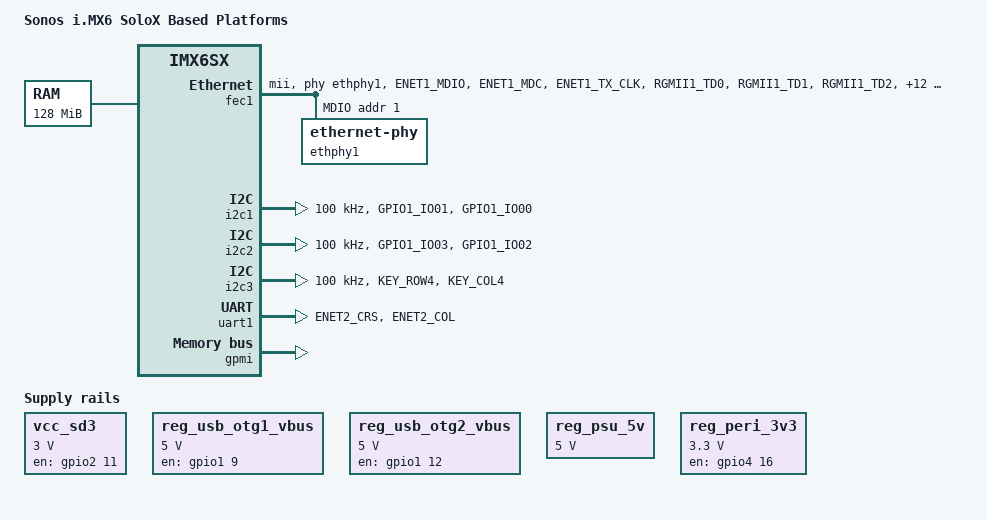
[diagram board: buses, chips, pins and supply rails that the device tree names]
/*
 * Copyright (c) 2019-2021, Sonos, Inc.
 *
 * SPDX-License-Identifier:     GPL-2.0
 *
 */

/dts-v1/;

#include <dt-bindings/gpio/gpio.h>
#include <dt-bindings/input/input.h>
#include "sonos_imx6sx.dtsi"
#include "sonos_platform.dtsi"

/ {
	model = "Sonos i.MX6 SoloX Based Platforms";
	compatible = "fsl,imx6sx-sdb", "fsl,imx6sx";

	aliases {
		serial0 = &uart1;
		ethernet0 = &fec1;
	};

	chosen {
	};

	memory {
		reg = <0x80000000 0x8000000>;
	};

	reserved-memory {
		ranges;
		/* global autoconfigured region for contiguous allocations */
		ramoops@0x81000000 {
			compatible = "ramoops";
			reg = <0x81000000 0x00100000>;
			record-size = <0x8000>;
			console-size = <0x10000>;
			ftrace-size = <0x2000>;
			pmsg-size = <0x4000>;
		};
	};
	regulators {
		compatible = "simple-bus";
		#address-cells = <1>;
		#size-cells = <0>;

		vcc_sd3: regulator@0 {
			compatible = "regulator-fixed";
			reg = <0>;
			pinctrl-names = "default";
			pinctrl-0 = <&pinctrl_vcc_sd3>;
			regulator-name = "VCC_SD3";
			regulator-min-microvolt = <3000000>;
			regulator-max-microvolt = <3000000>;
			gpio = <&gpio2 11 GPIO_ACTIVE_HIGH>;
			enable-active-high;
		};

		reg_usb_otg1_vbus: regulator@1 {
			compatible = "regulator-fixed";
			reg = <1>;
			pinctrl-names = "default";
			pinctrl-0 = <&pinctrl_usb_otg1>;
			regulator-name = "usb_otg1_vbus";
			regulator-min-microvolt = <5000000>;
			regulator-max-microvolt = <5000000>;
			gpio = <&gpio1 9 GPIO_ACTIVE_HIGH>;
			enable-active-high;
		};

		reg_usb_otg2_vbus: regulator@2 {
			compatible = "regulator-fixed";
			reg = <2>;
			pinctrl-names = "default";
			pinctrl-0 = <&pinctrl_usb_otg2>;
			regulator-name = "usb_otg2_vbus";
			regulator-min-microvolt = <5000000>;
			regulator-max-microvolt = <5000000>;
			gpio = <&gpio1 12 GPIO_ACTIVE_HIGH>;
			enable-active-high;
		};

		reg_psu_5v: regulator@3 {
			compatible = "regulator-fixed";
			reg = <3>;
			regulator-name = "PSU-5V0";
			regulator-min-microvolt = <5000000>;
			regulator-max-microvolt = <5000000>;
		};

		reg_lcd_3v3: regulator@4 {
			compatible = "regulator-fixed";
			reg = <4>;
			regulator-name = "lcd-3v3";
			gpio = <&gpio3 27 0>;
			enable-active-high;
			status = "disabled";
		};

		reg_peri_3v3: regulator@5 {
			compatible = "regulator-fixed";
			reg = <5>;
			pinctrl-names = "default";
			pinctrl-0 = <&pinctrl_peri_3v3>;
			regulator-name = "peri_3v3";
			regulator-min-microvolt = <3300000>;
			regulator-max-microvolt = <3300000>;
			gpio = <&gpio4 16 GPIO_ACTIVE_HIGH>;
			enable-active-high;
			regulator-always-on;
		};
	};

	sonos_rollback:sonos-rollback@ff800000 {
		compatible = "sonos,sonos-rollback";
		reg = <0x20d8000 0x100>;
		offset = <0x3c>;
		shift = <0>;
	};
};

&fec1 {
	pinctrl-names = "default";
	pinctrl-0 = <&pinctrl_enet1>;
	phy-mode = "mii";
	phy-handle = <&ethphy1>;
	status = "okay";

	mdio {
		#address-cells = <1>;
		#size-cells = <0>;

		ethphy1: ethernet-phy@1 {
			reg = <1>;
		};
	};
};

&i2c1 {
	clock-frequency = <100000>;
	pinctrl-names = "default";
	pinctrl-0 = <&pinctrl_i2c1>;
	status = "okay";
};

&i2c2 {
	clock-frequency = <100000>;
	pinctrl-names = "default";
	pinctrl-0 = <&pinctrl_i2c2>;
	status = "okay";
};

&i2c3 {
	clock-frequency = <100000>;
	pinctrl-names = "default";
	pinctrl-0 = <&pinctrl_i2c3>;
	status = "okay";
};

&uart1 {
	pinctrl-names = "default";
	pinctrl-0 = <&pinctrl_uart1>;
	status = "okay";
};

&gpmi {
	status = "okay";
};

&dma_apbh {
	status = "okay";
};

&iomuxc {
	imx6x-sdb {
		pinctrl_audmux: audmuxgrp {
			fsl,pins = <
				MX6SX_PAD_CSI_DATA00__AUDMUX_AUD6_TXC	0x130b0
				MX6SX_PAD_CSI_DATA01__AUDMUX_AUD6_TXFS	0x130b0
				MX6SX_PAD_CSI_HSYNC__AUDMUX_AUD6_TXD	0x120b0
				MX6SX_PAD_CSI_VSYNC__AUDMUX_AUD6_RXD	0x130b0
				MX6SX_PAD_CSI_PIXCLK__AUDMUX_MCLK	0x130b0
			>;
		};

		pinctrl_enet1: enet1grp {
			fsl,pins = <
				MX6SX_PAD_ENET1_MDIO__ENET1_MDIO	0xb011
				MX6SX_PAD_ENET1_MDC__ENET1_MDC		0xb011
				MX6SX_PAD_ENET1_TX_CLK__ENET1_TX_CLK	0xb0f1
				MX6SX_PAD_RGMII1_TD0__ENET1_TX_DATA_0	0xb019
				MX6SX_PAD_RGMII1_TD1__ENET1_TX_DATA_1	0xb019
				MX6SX_PAD_RGMII1_TD2__ENET1_TX_DATA_2	0xb019
				MX6SX_PAD_RGMII1_TD3__ENET1_TX_DATA_3	0xb019
				MX6SX_PAD_RGMII1_TX_CTL__ENET1_TX_EN	0xb019
				MX6SX_PAD_RGMII1_RXC__ENET1_RX_ER	0x30c1
				MX6SX_PAD_RGMII1_RD0__ENET1_RX_DATA_0	0x30c1
				MX6SX_PAD_RGMII1_RD1__ENET1_RX_DATA_1	0x30c1
				MX6SX_PAD_RGMII1_RD2__ENET1_RX_DATA_2	0x30c1
				MX6SX_PAD_RGMII1_RD3__ENET1_RX_DATA_3	0x30c1
				MX6SX_PAD_RGMII1_RX_CTL__ENET1_RX_EN	0x30c1
				MX6SX_PAD_ENET1_RX_CLK__ENET1_RX_CLK	0xb0f1
				MX6SX_PAD_ENET1_COL__ENET1_COL		0x3010
				MX6SX_PAD_ENET1_CRS__ENET1_CRS		0x3010

				MX6SX_PAD_ENET2_RX_CLK__ENET2_REF_CLK_25M	0xb030
			>;
		};

		pinctrl_enet1_rmii: enet1grp_rmii {
			fsl,pins = <
				MX6SX_PAD_ENET1_MDIO__ENET1_MDIO	0xb011
				MX6SX_PAD_ENET1_MDC__ENET1_MDC		0xb011
				MX6SX_PAD_ENET1_TX_CLK__ENET1_TX_CLK	0xb0f1
				MX6SX_PAD_RGMII1_TD0__ENET1_TX_DATA_0	0xb019
				MX6SX_PAD_RGMII1_TD1__ENET1_TX_DATA_1	0xb019
				MX6SX_PAD_RGMII1_RXC__ENET1_RX_ER	0x30c1
				MX6SX_PAD_RGMII1_RD0__ENET1_RX_DATA_0	0x30c1
				MX6SX_PAD_RGMII1_RD1__ENET1_RX_DATA_1	0x30c1
				MX6SX_PAD_ENET1_RX_CLK__ENET1_RX_CLK	0xb0f1
				MX6SX_PAD_ENET1_COL__ENET1_COL		0x3010
				MX6SX_PAD_ENET1_CRS__ENET1_CRS		0x3010
				MX6SX_PAD_ENET1_TX_CLK__ENET1_REF_CLK1  0xb030
			>;
		};

		pinctrl_enet_3v3: enet3v3grp {
			fsl,pins = <
				MX6SX_PAD_ENET2_COL__GPIO2_IO_6		0x80000000
			>;
		};

		pinctrl_enet2: enet2grp {
			fsl,pins = <
				MX6SX_PAD_RGMII2_TXC__ENET2_RGMII_TXC	0xa0b9
				MX6SX_PAD_RGMII2_TD0__ENET2_TX_DATA_0	0xa0b1
				MX6SX_PAD_RGMII2_TD1__ENET2_TX_DATA_1	0xa0b1
				MX6SX_PAD_RGMII2_TD2__ENET2_TX_DATA_2	0xa0b1
				MX6SX_PAD_RGMII2_TD3__ENET2_TX_DATA_3	0xa0b1
				MX6SX_PAD_RGMII2_TX_CTL__ENET2_TX_EN	0xa0b1
				MX6SX_PAD_RGMII2_RXC__ENET2_RX_CLK	0x3081
				MX6SX_PAD_RGMII2_RD0__ENET2_RX_DATA_0	0x3081
				MX6SX_PAD_RGMII2_RD1__ENET2_RX_DATA_1	0x3081
				MX6SX_PAD_RGMII2_RD2__ENET2_RX_DATA_2	0x3081
				MX6SX_PAD_RGMII2_RD3__ENET2_RX_DATA_3	0x3081
				MX6SX_PAD_RGMII2_RX_CTL__ENET2_RX_EN	0x3081
			>;
		};

		pinctrl_gpio_keys: gpio_keysgrp {
			fsl,pins = <
				MX6SX_PAD_CSI_DATA04__GPIO1_IO_18 0x17059
				MX6SX_PAD_CSI_DATA05__GPIO1_IO_19 0x17059
			>;
		};

		pinctrl_i2c1: i2c1grp {
			fsl,pins = <
				MX6SX_PAD_GPIO1_IO01__I2C1_SDA		0x4001b8b1
				MX6SX_PAD_GPIO1_IO00__I2C1_SCL		0x4001b8b1
			>;
		};

		pinctrl_i2c2: i2c2grp {
			fsl,pins = <
				MX6SX_PAD_GPIO1_IO03__I2C2_SDA		0x4001b8b1
				MX6SX_PAD_GPIO1_IO02__I2C2_SCL		0x4001b8b1
			>;
		};

		pinctrl_i2c3: i2c3grp {
			fsl,pins = <
				MX6SX_PAD_KEY_ROW4__I2C3_SDA		0x4001b8b1
				MX6SX_PAD_KEY_COL4__I2C3_SCL		0x4001b8b1
			>;
		};

		pinctrl_i2c4: i2c4grp {
			fsl,pins = <
				MX6SX_PAD_CSI_DATA07__I2C4_SDA		0x4001b8b1
				MX6SX_PAD_CSI_DATA06__I2C4_SCL		0x4001b8b1
			>;
		};

		pinctrl_peri_3v3: peri3v3grp {
			fsl,pins = <
				MX6SX_PAD_QSPI1A_DATA0__GPIO4_IO_16	0x80000000
			>;
		};

		pinctrl_pwm3: pwm3grp-1 {
			fsl,pins = <
				MX6SX_PAD_SD1_DATA2__PWM3_OUT 0x110b0
			>;
		};

		pinctrl_qspi2: qspi2grp {
			fsl,pins = <
				MX6SX_PAD_NAND_WP_B__QSPI2_A_DATA_0     0x70f1
				MX6SX_PAD_NAND_READY_B__QSPI2_A_DATA_1  0x70f1
				MX6SX_PAD_NAND_CE0_B__QSPI2_A_DATA_2    0x70f1
				MX6SX_PAD_NAND_CE1_B__QSPI2_A_DATA_3    0x70f1
				MX6SX_PAD_NAND_CLE__QSPI2_A_SCLK        0x70f1
				MX6SX_PAD_NAND_ALE__QSPI2_A_SS0_B       0x70f1
				MX6SX_PAD_NAND_DATA01__QSPI2_B_DATA_0   0x70f1
				MX6SX_PAD_NAND_DATA00__QSPI2_B_DATA_1   0x70f1
				MX6SX_PAD_NAND_WE_B__QSPI2_B_DATA_2     0x70f1
				MX6SX_PAD_NAND_RE_B__QSPI2_B_DATA_3     0x70f1
				MX6SX_PAD_NAND_DATA02__QSPI2_B_SCLK     0x70f1
				MX6SX_PAD_NAND_DATA03__QSPI2_B_SS0_B    0x70f1
			>;
		};

		pinctrl_vcc_sd3: vccsd3grp {
			fsl,pins = <
				MX6SX_PAD_KEY_COL1__GPIO2_IO_11		0x17059
			>;
		};

		pinctrl_sai1: sai1grp {
			fsl,pins = <
				MX6SX_PAD_CSI_DATA00__SAI1_TX_BCLK	0x130b0
				MX6SX_PAD_CSI_DATA01__SAI1_TX_SYNC	0x130b0
				MX6SX_PAD_CSI_HSYNC__SAI1_TX_DATA_0	0x120b0
				MX6SX_PAD_CSI_VSYNC__SAI1_RX_DATA_0	0x130b0
				MX6SX_PAD_CSI_PIXCLK__AUDMUX_MCLK	0x130b0
			>;
		};

		pinctrl_uart1: uart1grp {
			fsl,pins = <
				MX6SX_PAD_ENET2_CRS__UART1_TX		0x1b089
				MX6SX_PAD_ENET2_COL__UART1_RX		0x1b0b1
			>;
		};

		pinctrl_uart5: uart5grp {
			fsl,pins = <
				MX6SX_PAD_KEY_ROW3__UART5_RX		0x1b0b1
				MX6SX_PAD_KEY_COL3__UART5_TX		0x1b0b1
				MX6SX_PAD_KEY_ROW2__UART5_CTS_B		0x1b0b1
				MX6SX_PAD_KEY_COL2__UART5_RTS_B		0x1b0b1
			>;
		};

		pinctrl_usb_otg1: usbotg1grp {
			fsl,pins = <
				MX6SX_PAD_GPIO1_IO09__GPIO1_IO_9	0x10b0
			>;
		};

		pinctrl_usb_otg1_id: usbotg1idgrp {
			fsl,pins = <
				MX6SX_PAD_GPIO1_IO10__ANATOP_OTG1_ID	0x17059
			>;
		};

		pinctrl_usb_otg2: usbot2ggrp {
			fsl,pins = <
				MX6SX_PAD_GPIO1_IO12__GPIO1_IO_12	0x10b0
			>;
		};

		pinctrl_usdhc2: usdhc2grp {
			fsl,pins = <
				MX6SX_PAD_SD2_CMD__USDHC2_CMD		0x17059
				MX6SX_PAD_SD2_CLK__USDHC2_CLK		0x10059
				MX6SX_PAD_SD2_DATA0__USDHC2_DATA0	0x17059
				MX6SX_PAD_SD2_DATA1__USDHC2_DATA1	0x17059
				MX6SX_PAD_SD2_DATA2__USDHC2_DATA2	0x17059
				MX6SX_PAD_SD2_DATA3__USDHC2_DATA3	0x17059
			>;
		};

		pinctrl_usdhc3: usdhc3grp {
			fsl,pins = <
				MX6SX_PAD_SD3_CMD__USDHC3_CMD		0x17059
				MX6SX_PAD_SD3_CLK__USDHC3_CLK		0x10059
				MX6SX_PAD_SD3_DATA0__USDHC3_DATA0	0x17059
				MX6SX_PAD_SD3_DATA1__USDHC3_DATA1	0x17059
				MX6SX_PAD_SD3_DATA2__USDHC3_DATA2	0x17059
				MX6SX_PAD_SD3_DATA3__USDHC3_DATA3	0x17059
				MX6SX_PAD_SD3_DATA4__USDHC3_DATA4	0x17059
				MX6SX_PAD_SD3_DATA5__USDHC3_DATA5	0x17059
				MX6SX_PAD_SD3_DATA6__USDHC3_DATA6	0x17059
				MX6SX_PAD_SD3_DATA7__USDHC3_DATA7	0x17059
				MX6SX_PAD_KEY_COL0__GPIO2_IO_10		0x17059 /* CD */
				MX6SX_PAD_KEY_ROW0__GPIO2_IO_15		0x17059 /* WP */
			>;
		};

		pinctrl_usdhc3_200mhz: usdhc3grp-200mhz {
			fsl,pins = <
				MX6SX_PAD_SD3_CMD__USDHC3_CMD		0x170f9
				MX6SX_PAD_SD3_CLK__USDHC3_CLK		0x100f9
				MX6SX_PAD_SD3_DATA0__USDHC3_DATA0	0x170f9
				MX6SX_PAD_SD3_DATA1__USDHC3_DATA1	0x170f9
				MX6SX_PAD_SD3_DATA2__USDHC3_DATA2	0x170f9
				MX6SX_PAD_SD3_DATA3__USDHC3_DATA3	0x170f9
				MX6SX_PAD_SD3_DATA4__USDHC3_DATA4	0x170f9
				MX6SX_PAD_SD3_DATA5__USDHC3_DATA5	0x170f9
				MX6SX_PAD_SD3_DATA6__USDHC3_DATA6	0x170f9
				MX6SX_PAD_SD3_DATA7__USDHC3_DATA7	0x170f9
			>;
		};

		pinctrl_usdhc4: usdhc4grp {
			fsl,pins = <
				MX6SX_PAD_SD4_CMD__USDHC4_CMD		0x17059
				MX6SX_PAD_SD4_CLK__USDHC4_CLK		0x10059
				MX6SX_PAD_SD4_DATA0__USDHC4_DATA0	0x17059
				MX6SX_PAD_SD4_DATA1__USDHC4_DATA1	0x17059
				MX6SX_PAD_SD4_DATA2__USDHC4_DATA2	0x17059
				MX6SX_PAD_SD4_DATA3__USDHC4_DATA3	0x17059
				MX6SX_PAD_SD4_DATA7__GPIO6_IO_21	0x17059 /* CD */
				MX6SX_PAD_SD4_DATA6__GPIO6_IO_20	0x17059 /* WP */
			>;
		};

		pinctrl_wdog: wdoggrp {
			fsl,pins = <
				MX6SX_PAD_GPIO1_IO13__WDOG1_WDOG_ANY 0x30b0
			>;
		};
	};
};
